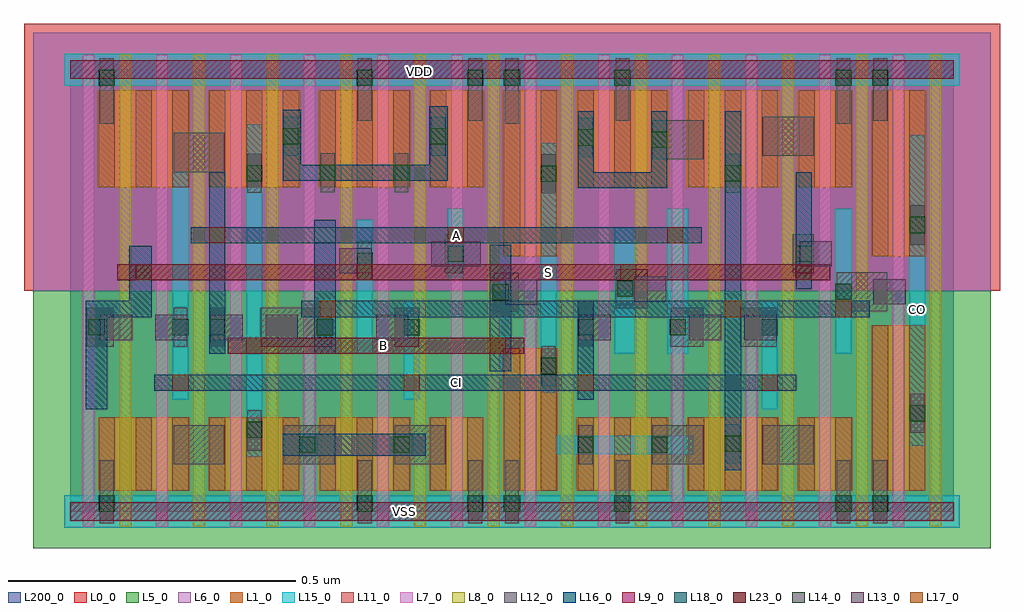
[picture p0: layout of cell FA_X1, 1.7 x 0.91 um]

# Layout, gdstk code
import gdstk
lib = gdstk.Library(unit=1e-6, precision=1e-09)
def R(c, l, rs):  # rectangles x0, y0, x1, y1
    for r in rs: c.add(gdstk.rectangle(r[:2], r[2:], *l))
def A(c, l, x, y, w, h, nx, ny, dx, dy):  # array of equal rectangles
    R(c, l, [(x+i*dx, y+j*dy, x+i*dx+w, y+j*dy+h) for i in range(nx) for j in range(ny)])
def P(c, l, *ps):  # polygons
    for p in ps: c.add(gdstk.Polygon(p, *l))
L0_0 = (0, 0)
L1_0 = (1, 0)
L5_0 = (5, 0)
L6_0 = (6, 0)
L7_0 = (7, 0)
L8_0 = (8, 0)
L9_0 = (9, 0)
L11_0 = (11, 0)
L12_0 = (12, 0)
L13_0 = (13, 0)
L14_0 = (14, 0)
L15_0 = (15, 0)
L16_0 = (16, 0)
L17_0 = (17, 0)
L18_0 = (18, 0)
L23_0 = (23, 0)
L200_0 = (200, 0)

fa_x1 = lib.new_cell('FA_X1')
R(fa_x1, L0_0, [(-0.08,0.384,1.616,0.848)])
A(fa_x1, L1_0, 0.048, 0.036, 0.16, 0.128, 3, 1, 0.192, 0)
A(fa_x1, L1_0, 0.048, 0.564, 0.16, 0.168, 3, 1, 0.192, 0)
R(fa_x1, L1_0, [(0.624,0.036,0.72,0.164), (0.752,0.036,0.848,0.284), (0.88,0.036,1.04,0.164), (1.072,0.036,1.232,0.164), (1.264,0.036,1.36,0.164), (1.392,0.036,1.488,0.324), (0.752,0.444,0.848,0.732), (1.392,0.444,1.488,0.732), (0.624,0.564,0.72,0.732), (0.88,0.564,1.04,0.732), (1.072,0.564,1.232,0.732), (1.264,0.564,1.36,0.732)])
R(fa_x1, L5_0, [(-0.064,-0.064,1.6,0.384)])
R(fa_x1, L6_0, [(-0.064,0.384,1.6,0.832)])
A(fa_x1, L7_0, 0.022, -0.026, 0.02, 0.82, 12, 1, 0.128, 0)
A(fa_x1, L8_0, 0.086, -0.026, 0.02, 0.82, 12, 1, 0.128, 0)
R(fa_x1, L9_0, [(0,-0.016,1.536,0.016), (0,0.752,1.536,0.784)])
A(fa_x1, L11_0, 0.05, 0.036, 0.028, 0.128, 11, 1, 0.064, 0)
A(fa_x1, L11_0, 0.882, 0.036, 0.028, 0.128, 8, 1, 0.064, 0)
A(fa_x1, L11_0, 0.05, 0.564, 0.028, 0.168, 11, 1, 0.064, 0)
A(fa_x1, L11_0, 0.882, 0.564, 0.028, 0.168, 8, 1, 0.064, 0)
R(fa_x1, L11_0, [(0.754,0.036,0.782,0.284), (0.818,0.036,0.846,0.284), (1.394,0.036,1.422,0.324), (1.458,0.036,1.486,0.324), (0.754,0.444,0.782,0.732), (0.818,0.444,0.846,0.732), (1.394,0.444,1.422,0.732), (1.458,0.444,1.486,0.732)])
A(fa_x1, L12_0, 0.18, 0.082, 0.088, 0.068, 3, 1, 0.192, 0)
R(fa_x1, L12_0, [(0.052,-0.02,0.076,0.089), (0.5,-0.02,0.524,0.089), (0.692,-0.02,0.716,0.089), (0.756,-0.02,0.78,0.089), (0.948,-0.02,0.972,0.089), (1.332,-0.02,1.356,0.089), (1.396,-0.02,1.42,0.089), (0.884,0.082,0.908,0.15), (1.012,0.082,1.1,0.15), (1.204,0.082,1.292,0.15), (1.14,0.084,1.164,0.152), (0.308,0.106,0.332,0.176), (1.46,0.137,1.484,0.205), (0.82,0.219,0.844,0.287), (0.029,0.286,0.076,0.354), (0.18,0.286,0.204,0.354), (0.244,0.286,0.268,0.354), (0.331,0.286,0.455,0.354), (0.564,0.286,0.606,0.354), (0.884,0.286,0.908,0.354), (1.044,0.286,1.1,0.354), (1.165,0.286,1.228,0.354), (0.736,0.347,0.78,0.415), (1.332,0.348,1.42,0.416), (0.948,0.353,1.004,0.421), (0.5,0.402,0.524,0.47), (0.651,0.414,0.682,0.482), (1.256,0.414,1.292,0.482), (1.46,0.464,1.484,0.532), (0.82,0.553,0.844,0.621), (0.308,0.554,0.332,0.622), (1.14,0.554,1.164,0.622), (0.436,0.555,0.46,0.623), (0.564,0.555,0.588,0.623), (0.18,0.59,0.268,0.658), (1.012,0.612,1.1,0.68), (0.884,0.616,0.908,0.684), (0.372,0.618,0.396,0.686), (0.628,0.618,0.652,0.686), (1.204,0.618,1.292,0.686), (0.052,0.674,0.076,0.788), (0.756,0.674,0.78,0.788), (1.332,0.674,1.356,0.788), (0.5,0.679,0.524,0.788), (0.692,0.679,0.716,0.788), (0.948,0.679,0.972,0.788), (1.396,0.679,1.42,0.788)])
A(fa_x1, L13_0, 0.052, 0.298, 0.056, 0.044, 4, 1, 0.096, 0)
R(fa_x1, L13_0, [(0.532,0.298,0.588,0.342), (0.884,0.298,0.94,0.342), (1.076,0.298,1.132,0.342), (1.172,0.298,1.228,0.342), (0.756,0.359,0.812,0.403), (1.396,0.36,1.452,0.404), (0.98,0.365,1.036,0.409), (0.468,0.414,0.524,0.458), (0.628,0.426,0.714,0.47), (1.268,0.426,1.324,0.47)])
A(fa_x1, L14_0, 0.882, 0.306, 0.028, 0.028, 3, 1, 0.16, 0)
R(fa_x1, L14_0, [(0.05,0,0.078,0.028), (0.498,0,0.526,0.028), (0.69,0,0.718,0.028), (0.754,0,0.782,0.028), (0.946,0,0.974,0.028), (1.33,0,1.358,0.028), (1.394,0,1.422,0.028), (0.398,0.102,0.426,0.13), (0.562,0.102,0.59,0.13), (0.882,0.102,0.91,0.13), (1.01,0.102,1.038,0.13), (1.138,0.104,1.166,0.132), (0.306,0.128,0.334,0.156), (1.458,0.157,1.486,0.185), (0.818,0.239,0.846,0.267), (0.032,0.306,0.06,0.334), (0.178,0.306,0.206,0.334), (0.242,0.306,0.27,0.334), (0.429,0.306,0.457,0.334), (0.58,0.306,0.608,0.334), (0.734,0.367,0.762,0.395), (1.33,0.368,1.358,0.396), (0.951,0.373,0.979,0.401), (0.498,0.422,0.526,0.45), (0.656,0.434,0.684,0.462), (1.261,0.434,1.289,0.462), (1.458,0.484,1.486,0.512), (0.818,0.573,0.846,0.601), (0.306,0.574,0.334,0.602), (1.138,0.574,1.166,0.602), (0.434,0.575,0.462,0.603), (0.562,0.575,0.59,0.603), (1.01,0.632,1.038,0.66), (0.882,0.636,0.91,0.664), (0.37,0.638,0.398,0.666), (0.626,0.638,0.654,0.666), (0.05,0.74,0.078,0.768), (0.498,0.74,0.526,0.768), (0.69,0.74,0.718,0.768), (0.754,0.74,0.782,0.768), (0.946,0.74,0.974,0.768), (1.33,0.74,1.358,0.768), (1.394,0.74,1.422,0.768)])
R(fa_x1, L15_0, [(-0.01,-0.028,1.546,0.028), (0.306,0.096,0.334,0.672), (0.846,0.1,1.084,0.132), (1.458,0.114,1.486,0.654), (1.202,0.178,1.23,0.366), (0.178,0.194,0.206,0.59), (0.58,0.194,0.608,0.366), (0.818,0.207,0.846,0.64), (0.498,0.274,0.526,0.507), (0.946,0.274,0.984,0.494), (1.038,0.274,1.074,0.526), (1.33,0.274,1.358,0.526), (0.656,0.402,0.684,0.526), (-0.01,0.74,1.546,0.796)])
R(fa_x1, L16_0, [(1.138,0.072,1.166,0.696), (0.37,0.097,0.618,0.135), (0.882,0.194,0.91,0.366), (0.729,0.244,0.767,0.464), (0.242,0.274,0.27,0.59), (0.424,0.274,0.462,0.507), (1.261,0.386,1.289,0.59)])
P(fa_x1, L16_0, [(0.027,0.178),(0.065,0.178),(0.065,0.338),(0.142,0.338),(0.142,0.462),(0.103,0.462),(0.103,0.366),(0.027,0.366)],
  [(0.37,0.575),(0.656,0.575),(0.656,0.704),(0.624,0.704),(0.624,0.603),(0.402,0.603),(0.402,0.698),(0.37,0.698)],
  [(0.882,0.562),(1.038,0.562),(1.038,0.696),(1.01,0.696),(1.01,0.59),(0.91,0.59),(0.91,0.696),(0.882,0.696)])
R(fa_x1, L17_0, [(0.178,0.21,0.206,0.238), (0.58,0.21,0.608,0.238), (0.882,0.21,0.91,0.238), (1.202,0.21,1.23,0.238), (0.306,0.274,0.334,0.302), (0.729,0.274,0.757,0.302), (0.434,0.338,0.462,0.366), (1.138,0.338,1.166,0.366), (1.33,0.338,1.358,0.366), (0.114,0.402,0.142,0.43), (0.498,0.402,0.526,0.43), (0.956,0.402,0.984,0.43), (1.261,0.402,1.289,0.43), (0.242,0.466,0.27,0.494), (0.656,0.466,0.684,0.494), (1.038,0.466,1.066,0.494)])
R(fa_x1, L18_0, [(0.146,0.21,1.262,0.238), (0.402,0.338,1.39,0.366), (0.21,0.466,1.098,0.494)])
R(fa_x1, L23_0, [(0.274,0.274,0.789,0.302), (0.082,0.402,1.321,0.43)])
R(fa_x1, L200_0, [(0,0,1.536,0.768)])
fa_x1.add(gdstk.Label('VSS', (0.581,0.001), layer=15, texttype=20))
fa_x1.add(gdstk.Label('CO', (1.472,0.352), layer=15, texttype=20))
fa_x1.add(gdstk.Label('S', (0.832,0.416), layer=15, texttype=20))
fa_x1.add(gdstk.Label('VDD', (0.608,0.764), layer=15, texttype=20))
fa_x1.add(gdstk.Label('A', (0.672,0.48), layer=18, texttype=20))
fa_x1.add(gdstk.Label('CI', (0.672,0.224), layer=18, texttype=20))
fa_x1.add(gdstk.Label('B', (0.544,0.288), layer=23, texttype=20))

lib.write_gds('FA_X1.gds')
